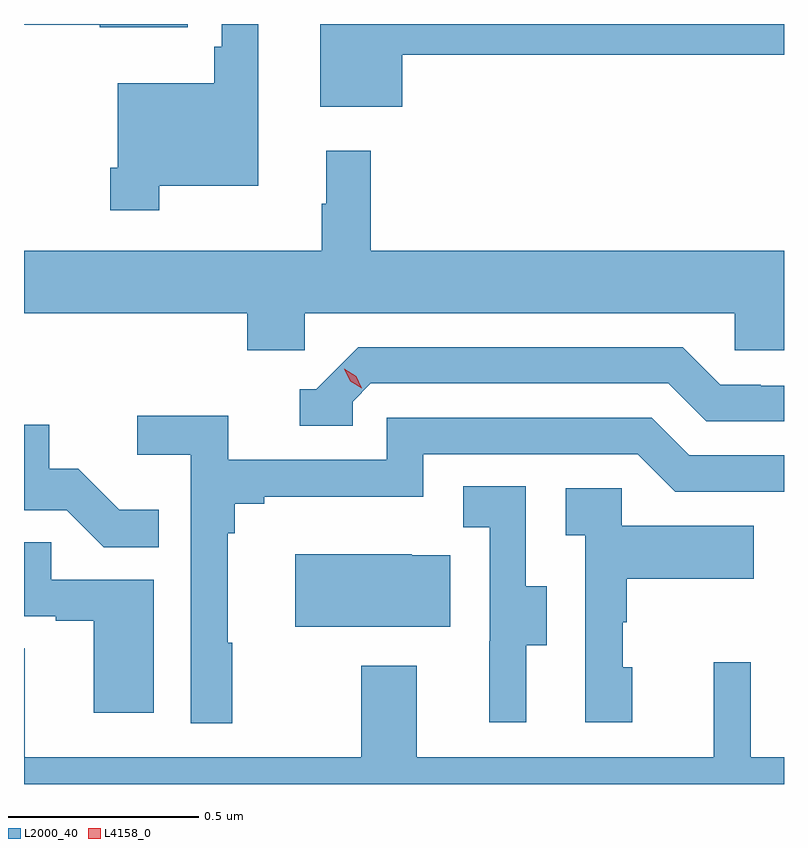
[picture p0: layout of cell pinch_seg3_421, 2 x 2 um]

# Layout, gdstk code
import gdstk
lib = gdstk.Library(unit=1e-6, precision=1e-09)
def P(c, l, *ps):  # polygons
    for p in ps: c.add(gdstk.Polygon(p, *l))
L2000_40 = (2000, 40)
L4158_0 = (4158, 0)

pinch_seg3_421 = lib.new_cell('pinch_seg3_421')
P(pinch_seg3_421, L2000_40, [(891.652,690.94),(892.657,690.94),(892.657,691.021),(891.437,691.021),(891.437,690.803),(891.652,690.803)],
  [(891.013,690.596),(891.274,690.596),(891.274,691.021),(891.177,691.021),(891.177,690.961),(891.157,690.961),(891.157,690.865),(890.904,690.865),(890.904,690.643),(890.884,690.643),(890.884,690.531),(891.013,690.531)],
  [(891.088,691.021),(890.657,691.021),(890.657,691.019),(890.856,691.019),(890.856,691.013),(891.088,691.013)],
  [(891.396,690.26),(892.527,690.26),(892.527,690.162),(892.657,690.162),(892.657,690.424),(891.569,690.424),(891.569,690.688),(891.452,690.688),(891.452,690.548),(891.441,690.548),(891.441,690.424),(890.657,690.424),(890.657,690.26),(891.245,690.26),(891.245,690.162),(891.396,690.162)],
  [(891.522,690.027),(891.57,690.075),(892.353,690.075),(892.452,689.976),(892.657,689.976),(892.657,690.069),(892.596,690.069),(892.596,690.072),(892.489,690.072),(892.39,690.171),(891.537,690.171),(891.426,690.06),(891.383,690.06),(891.383,689.964),(891.522,689.964)],
  [(891.205,689.393),(891.193,689.393),(891.193,689.681),(891.212,689.681),(891.212,689.758),(891.289,689.758),(891.289,689.777),(891.708,689.777),(891.708,689.889),(892.272,689.889),(892.371,689.79),(892.657,689.79),(892.657,689.886),(892.408,689.886),(892.309,689.985),(891.612,689.985),(891.612,689.874),(891.194,689.874),(891.194,689.99),(890.955,689.99),(890.955,689.888),(891.096,689.888),(891.096,689.181),(891.205,689.181)],
  [(891.011,689.743),(890.907,689.743),(890.8,689.85),(890.724,689.85),(890.724,689.967),(890.657,689.967),(890.657,689.742),(890.769,689.742),(890.867,689.644),(891.011,689.644)],
  [(891.979,689.386),(892.033,689.386),(892.033,689.541),(891.978,689.541),(891.978,689.804),(891.813,689.804),(891.813,689.697),(891.882,689.697),(891.882,689.397),(891.881,689.397),(891.881,689.184),(891.979,689.184)],
  [(892.258,689.328),(892.233,689.328),(892.233,689.447),(892.243,689.447),(892.243,689.561),(892.577,689.561),(892.577,689.701),(892.23,689.701),(892.23,689.799),(892.083,689.799),(892.083,689.675),(892.134,689.675),(892.134,689.184),(892.258,689.184)],
  [(890.998,689.559),(890.729,689.559),(890.729,689.657),(890.657,689.657),(890.657,689.463),(890.741,689.463),(890.741,689.451),(890.84,689.451),(890.84,689.208),(890.998,689.208)],
  [(891.779,689.623),(891.677,689.623),(891.677,689.626),(891.371,689.626),(891.371,689.435),(891.779,689.435)],
  [(892.657,689.092),(892.569,689.092),(892.569,689.341),(892.472,689.341),(892.472,689.092),(891.691,689.092),(891.691,689.332),(891.544,689.332),(891.544,689.092),(890.659,689.092),(890.659,689.378),(890.657,689.378),(890.657,689.021),(892.657,689.021)])
P(pinch_seg3_421, L4158_0, [(891.546,690.062),(891.516,690.081),(891.5,690.114),(891.5,690.114),(891.5,690.114),(891.531,690.094),(891.546,690.062),(891.546,690.062)])

lib.write_gds('pinch_seg3_421.gds')
